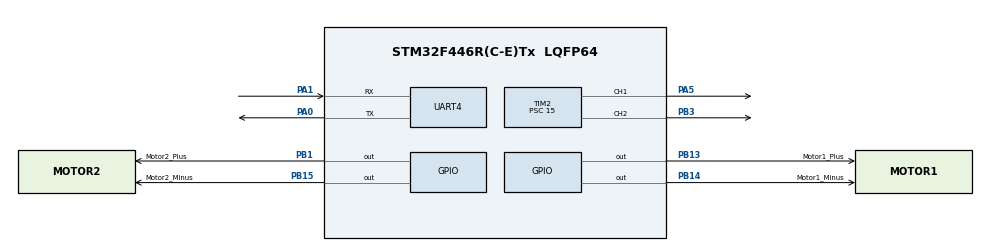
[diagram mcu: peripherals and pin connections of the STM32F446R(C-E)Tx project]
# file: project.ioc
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Mcu.Family=STM32F4
Mcu.Name=STM32F446R(C-E)Tx
Mcu.Package=LQFP64
NVIC.PriorityGroup=NVIC_PRIORITYGROUP_4
PA0-WKUP.Mode=Asynchronous
PA0-WKUP.Signal=UART4_TX
PA1.Mode=Asynchronous
PA1.Signal=UART4_RX
PA5.Signal=S_TIM2_CH1_ETR
PB1.GPIO_Label=Motor2_Plus
PB1.Signal=GPIO_Output
PB13.GPIO_Label=Motor1_Plus
PB13.Signal=GPIO_Output
PB14.GPIO_Label=Motor1_Minus
PB14.Signal=GPIO_Output
PB15.GPIO_Label=Motor2_Minus
PB15.Signal=GPIO_Output
PB3.Signal=S_TIM2_CH2
PC14-OSC32_IN.Mode=LSE-External-Oscillator
PC14-OSC32_IN.Signal=RCC_OSC32_IN
PC15-OSC32_OUT.Mode=LSE-External-Oscillator
PC15-OSC32_OUT.Signal=RCC_OSC32_OUT
PH0-OSC_IN.Mode=HSE-External-Oscillator
PH0-OSC_IN.Signal=RCC_OSC_IN
PH1-OSC_OUT.Mode=HSE-External-Oscillator
PH1-OSC_OUT.Signal=RCC_OSC_OUT
ProjectManager.HeapSize=0x200
ProjectManager.StackSize=0x400
ProjectManager.TargetToolchain=STM32CubeIDE
RCC.CortexFreq_Value=16000000
RCC.USBFreq_Value=96000000
RCC.VCOOutputFreq_Value=192000000
SH.S_TIM2_CH1_ETR.0=TIM2_CH1,PWM Generation1 CH1
SH.S_TIM2_CH2.0=TIM2_CH2,PWM Generation2 CH2
TIM2.Channel-PWM\ Generation1\ CH1=TIM_CHANNEL_1
TIM2.Channel-PWM\ Generation2\ CH2=TIM_CHANNEL_2
TIM2.Period=499
TIM2.Prescaler=15
UART4.VirtualMode=Asynchronous
VP_TIM2_VS_ClockSourceINT.Mode=Internal
board=custom

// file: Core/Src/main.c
/* USER CODE BEGIN Header */
/**
  ******************************************************************************
  * @file           : main.c
  * @brief          : Main program body
  ******************************************************************************
  * @attention
  *
  * Copyright (c) 2025 STMicroelectronics.
  * All rights reserved.
  *
  * This software is licensed under terms that can be found in the LICENSE file
  * in the root directory of this software component.
  * If no LICENSE file comes with this software, it is provided AS-IS.
  *
  ******************************************************************************
  */
/* USER CODE END Header */
#include "main.h"

TIM_HandleTypeDef htim2;

UART_HandleTypeDef huart4;

/* USER CODE BEGIN PV */
enum dir_t {
	forward,
	backward,
	still,
};

void Motor1(enum dir_t d) {
	if (d == forward) {
		HAL_GPIO_WritePin(GPIOB, Motor1_Plus_Pin, GPIO_PIN_SET);
		HAL_GPIO_WritePin(GPIOB, Motor1_Minus_Pin, GPIO_PIN_RESET);
	} else if (d == backward) {
		HAL_GPIO_WritePin(GPIOB, Motor1_Plus_Pin, GPIO_PIN_RESET);
		HAL_GPIO_WritePin(GPIOB, Motor1_Minus_Pin, GPIO_PIN_SET);
	} else {
		HAL_GPIO_WritePin(GPIOB, Motor1_Plus_Pin, GPIO_PIN_RESET);
		HAL_GPIO_WritePin(GPIOB, Motor1_Minus_Pin, GPIO_PIN_RESET);
	}
	TIM2->CCR1 = 250;
	HAL_TIM_PWM_Start(&htim2, TIM_CHANNEL_1);
}

void Motor2(enum dir_t d) {
	if (d == forward) {
		HAL_GPIO_WritePin(GPIOB, Motor2_Plus_Pin, GPIO_PIN_RESET);
		HAL_GPIO_WritePin(GPIOB, Motor2_Minus_Pin, GPIO_PIN_SET);
	} else if (d == backward) {
		HAL_GPIO_WritePin(GPIOB, Motor2_Plus_Pin, GPIO_PIN_SET);
		HAL_GPIO_WritePin(GPIOB, Motor2_Minus_Pin, GPIO_PIN_RESET);
	} else {
		HAL_GPIO_WritePin(GPIOB, Motor2_Plus_Pin, GPIO_PIN_RESET);
		HAL_GPIO_WritePin(GPIOB, Motor2_Minus_Pin, GPIO_PIN_RESET);
	}
	TIM2->CCR2 = 250;
	HAL_TIM_PWM_Start(&htim2, TIM_CHANNEL_2);
}

void goforward() {
	Motor1(forward);
	Motor2(forward);
}

void gobackward() {
	Motor1(backward);
	Motor2(backward);
}

void goleft() {
	Motor1(forward);
	Motor2(still);
}

void goright() {
	Motor1(still);
	Motor2(forward);
}

void sitstill() {
	Motor1(still);
	Motor2(still);
}
/* USER CODE END PV */

void SystemClock_Config(void);
static void MX_GPIO_Init(void);
static void MX_UART4_Init(void);
static void MX_TIM2_Init(void);

int main(void)
{

  /* MCU Configuration--------------------------------------------------------*/

  /* Reset of all peripherals, Initializes the Flash interface and the Systick. */
  HAL_Init();

  /* Configure the system clock */
  SystemClock_Config();

  /* Initialize all configured peripherals */
  MX_GPIO_Init();
  MX_UART4_Init();
  MX_TIM2_Init();
  /* USER CODE BEGIN 2 */

  uint8_t cmd = 0;
  /* USER CODE END 2 */

  /* Infinite loop */
  /* USER CODE BEGIN WHILE */
  while (1)
  {
	  HAL_UART_Receive(&huart4, &cmd, 1, HAL_MAX_DELAY);

	  switch ((char)cmd) {
	  case 'F': {
		  goforward();
	  } break;
	  case 'B': {
		  gobackward();
	  } break;
	  case 'L': {
		  goleft();
	  } break;
	  case 'R': {
		  goright();
	  } break;
	  default: {
		  sitstill();
	  } break;
	  }
	  HAL_Delay(500);
	  sitstill();
	  cmd = '\0';
    /* USER CODE END WHILE */

  }
}

void SystemClock_Config(void)
{
  RCC_OscInitTypeDef RCC_OscInitStruct = {0};
  RCC_ClkInitTypeDef RCC_ClkInitStruct = {0};

  /** Configure the main internal regulator output voltage
  */
  __HAL_RCC_PWR_CLK_ENABLE();
  __HAL_PWR_VOLTAGESCALING_CONFIG(PWR_REGULATOR_VOLTAGE_SCALE3);

  /** Initializes the RCC Oscillators according to the specified parameters
  * in the RCC_OscInitTypeDef structure.
  */
  RCC_OscInitStruct.OscillatorType = RCC_OSCILLATORTYPE_HSI;
  RCC_OscInitStruct.HSIState = RCC_HSI_ON;
  RCC_OscInitStruct.HSICalibrationValue = RCC_HSICALIBRATION_DEFAULT;
  RCC_OscInitStruct.PLL.PLLState = RCC_PLL_NONE;
  if (HAL_RCC_OscConfig(&RCC_OscInitStruct) != HAL_OK)
  {
    Error_Handler();
  }

  /** Initializes the CPU, AHB and APB buses clocks
  */
  RCC_ClkInitStruct.ClockType = RCC_CLOCKTYPE_HCLK|RCC_CLOCKTYPE_SYSCLK
                              |RCC_CLOCKTYPE_PCLK1|RCC_CLOCKTYPE_PCLK2;
  RCC_ClkInitStruct.SYSCLKSource = RCC_SYSCLKSOURCE_HSI;
  RCC_ClkInitStruct.AHBCLKDivider = RCC_SYSCLK_DIV1;
  RCC_ClkInitStruct.APB1CLKDivider = RCC_HCLK_DIV1;
  RCC_ClkInitStruct.APB2CLKDivider = RCC_HCLK_DIV1;

  if (HAL_RCC_ClockConfig(&RCC_ClkInitStruct, FLASH_LATENCY_0) != HAL_OK)
  {
    Error_Handler();
  }
}

static void MX_TIM2_Init(void)
{

  TIM_ClockConfigTypeDef sClockSourceConfig = {0};
  TIM_MasterConfigTypeDef sMasterConfig = {0};
  TIM_OC_InitTypeDef sConfigOC = {0};

  htim2.Instance = TIM2;
  htim2.Init.Prescaler = 15;
  htim2.Init.CounterMode = TIM_COUNTERMODE_UP;
  htim2.Init.Period = 499;
  htim2.Init.ClockDivision = TIM_CLOCKDIVISION_DIV1;
  htim2.Init.AutoReloadPreload = TIM_AUTORELOAD_PRELOAD_DISABLE;
  if (HAL_TIM_Base_Init(&htim2) != HAL_OK)
  {
    Error_Handler();
  }
  sClockSourceConfig.ClockSource = TIM_CLOCKSOURCE_INTERNAL;
  if (HAL_TIM_ConfigClockSource(&htim2, &sClockSourceConfig) != HAL_OK)
  {
    Error_Handler();
  }
  if (HAL_TIM_PWM_Init(&htim2) != HAL_OK)
  {
    Error_Handler();
  }
  sMasterConfig.MasterOutputTrigger = TIM_TRGO_RESET;
  sMasterConfig.MasterSlaveMode = TIM_MASTERSLAVEMODE_DISABLE;
  if (HAL_TIMEx_MasterConfigSynchronization(&htim2, &sMasterConfig) != HAL_OK)
  {
    Error_Handler();
  }
  sConfigOC.OCMode = TIM_OCMODE_PWM1;
  sConfigOC.Pulse = 0;
  sConfigOC.OCPolarity = TIM_OCPOLARITY_HIGH;
  sConfigOC.OCFastMode = TIM_OCFAST_DISABLE;
  if (HAL_TIM_PWM_ConfigChannel(&htim2, &sConfigOC, TIM_CHANNEL_1) != HAL_OK)
  {
    Error_Handler();
  }
  if (HAL_TIM_PWM_ConfigChannel(&htim2, &sConfigOC, TIM_CHANNEL_2) != HAL_OK)
  {
    Error_Handler();
  }
  HAL_TIM_MspPostInit(&htim2);

}

static void MX_UART4_Init(void)
{

  huart4.Instance = UART4;
  huart4.Init.BaudRate = 115200;
  huart4.Init.WordLength = UART_WORDLENGTH_8B;
  huart4.Init.StopBits = UART_STOPBITS_1;
  huart4.Init.Parity = UART_PARITY_NONE;
  huart4.Init.Mode = UART_MODE_TX_RX;
  huart4.Init.HwFlowCtl = UART_HWCONTROL_NONE;
  huart4.Init.OverSampling = UART_OVERSAMPLING_16;
  if (HAL_UART_Init(&huart4) != HAL_OK)
  {
    Error_Handler();
  }

}

static void MX_GPIO_Init(void)
{
  GPIO_InitTypeDef GPIO_InitStruct = {0};

  /* GPIO Ports Clock Enable */
  __HAL_RCC_GPIOC_CLK_ENABLE();
  __HAL_RCC_GPIOH_CLK_ENABLE();
  __HAL_RCC_GPIOA_CLK_ENABLE();
  __HAL_RCC_GPIOB_CLK_ENABLE();

  /*Configure GPIO pin Output Level */
  HAL_GPIO_WritePin(GPIOB, Motor2_Plus_Pin|Motor1_Plus_Pin|Motor1_Minus_Pin|Motor2_Minus_Pin, GPIO_PIN_RESET);

  /*Configure GPIO pins : Motor2_Plus_Pin Motor1_Plus_Pin Motor1_Minus_Pin Motor2_Minus_Pin */
  GPIO_InitStruct.Pin = Motor2_Plus_Pin|Motor1_Plus_Pin|Motor1_Minus_Pin|Motor2_Minus_Pin;
  GPIO_InitStruct.Mode = GPIO_MODE_OUTPUT_PP;
  GPIO_InitStruct.Pull = GPIO_NOPULL;
  GPIO_InitStruct.Speed = GPIO_SPEED_FREQ_LOW;
  HAL_GPIO_Init(GPIOB, &GPIO_InitStruct);

}

void Error_Handler(void)
{
  __disable_irq();
  while (1)
  {
  }
}
